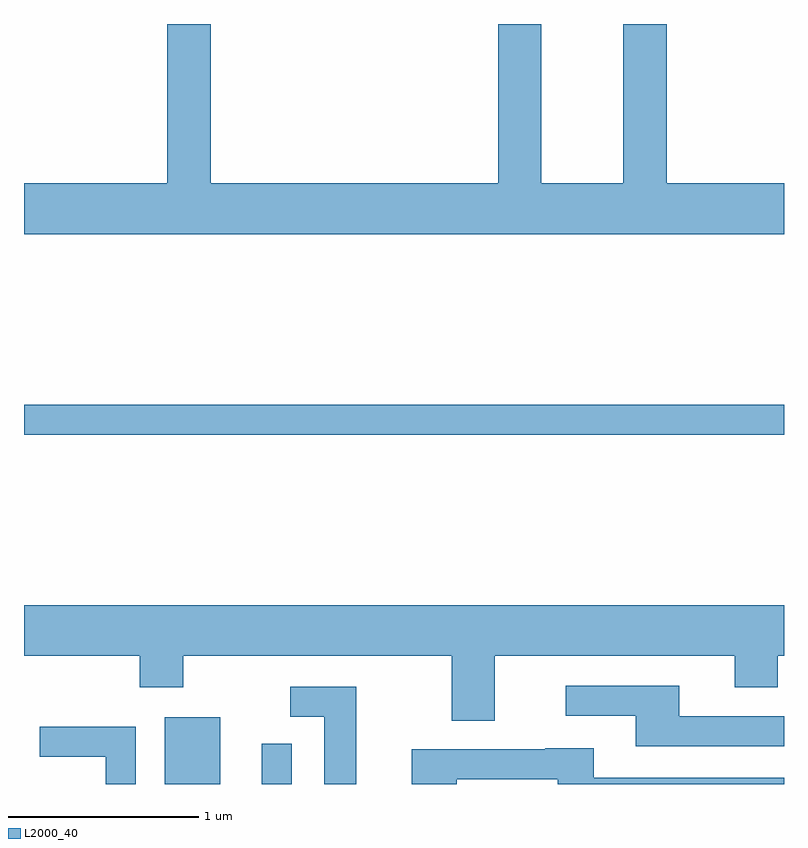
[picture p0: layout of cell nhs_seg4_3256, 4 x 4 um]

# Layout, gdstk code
import gdstk
lib = gdstk.Library(unit=1e-6, precision=1e-09)
def R(c, l, rs):  # rectangles x0, y0, x1, y1
    for r in rs: c.add(gdstk.rectangle(r[:2], r[2:], *l))
def P(c, l, *ps):  # polygons
    for p in ps: c.add(gdstk.Polygon(p, *l))
L2000_40 = (2000, 40)

nhs_seg4_3256 = lib.new_cell('nhs_seg4_3256')
R(nhs_seg4_3256, L2000_40, [(280.351,1373.982,280.644,1374.334), (280.861,1373.982,281.019,1374.193), (279.611,1375.821,283.611,1375.979)])
P(nhs_seg4_3256, L2000_40, [(283.611,1377.144),(282.994,1377.144),(282.994,1377.982),(282.766,1377.982),(282.766,1377.144),(282.334,1377.144),(282.334,1377.982),(282.106,1377.982),(282.106,1377.144),(280.594,1377.144),(280.594,1377.982),(280.366,1377.982),(280.366,1377.144),(279.611,1377.144),(279.611,1376.876),(283.611,1376.876)],
  [(282.089,1374.656),(283.351,1374.656),(283.351,1374.491),(283.579,1374.491),(283.579,1374.656),(283.611,1374.656),(283.611,1374.924),(279.611,1374.924),(279.611,1374.656),(280.221,1374.656),(280.221,1374.491),(280.449,1374.491),(280.449,1374.656),(281.861,1374.656),(281.861,1374.316),(282.089,1374.316)],
  [(283.611,1374.339),(283.059,1374.339),(283.059,1374.499),(282.463,1374.499),(282.463,1374.341),(282.831,1374.341),(282.831,1374.181),(283.611,1374.181)],
  [(281.359,1374.494),(281.013,1374.494),(281.013,1374.336),(281.191,1374.336),(281.191,1373.982),(281.359,1373.982)],
  [(280.199,1374.284),(279.693,1374.284),(279.693,1374.126),(280.041,1374.126),(280.041,1373.982),(280.199,1373.982)],
  [(281.889,1374.006),(282.421,1374.006),(282.421,1373.982),(283.611,1373.982),(283.611,1374.014),(282.609,1374.014),(282.609,1374.169),(282.355,1374.169),(282.355,1374.164),(281.651,1374.164),(281.651,1373.982),(281.889,1373.982)])

lib.write_gds('nhs_seg4_3256.gds')
